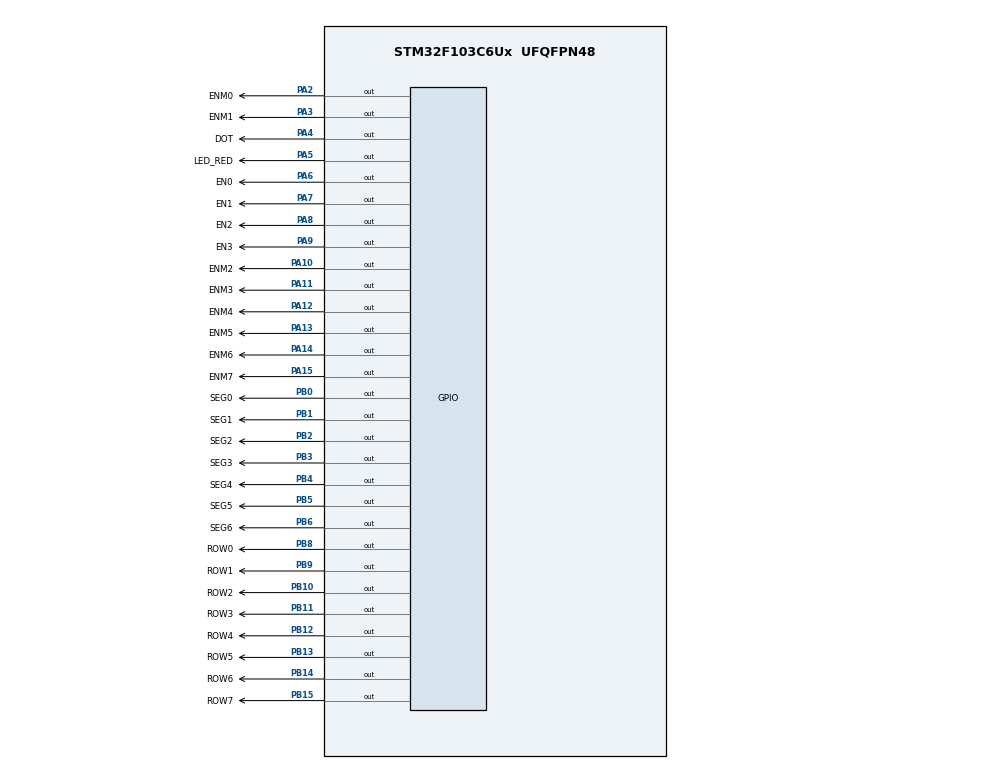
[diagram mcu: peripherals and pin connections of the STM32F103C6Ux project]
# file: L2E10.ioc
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Mcu.Family=STM32F1
Mcu.Name=STM32F103C6Ux
Mcu.Package=UFQFPN48
NVIC.PriorityGroup=NVIC_PRIORITYGROUP_4
NVIC.TIM2_IRQn=true\:0\:0\:false\:false\:true\:true\:true
PA10.GPIO_Label=ENM2
PA10.Signal=GPIO_Output
PA11.GPIO_Label=ENM3
PA11.Signal=GPIO_Output
PA12.GPIO_Label=ENM4
PA12.Signal=GPIO_Output
PA13.GPIO_Label=ENM5
PA13.Signal=GPIO_Output
PA14.GPIO_Label=ENM6
PA14.Signal=GPIO_Output
PA15.GPIO_Label=ENM7
PA15.Signal=GPIO_Output
PA2.GPIO_Label=ENM0
PA2.Signal=GPIO_Output
PA3.GPIO_Label=ENM1
PA3.Signal=GPIO_Output
PA4.GPIO_Label=DOT
PA4.Signal=GPIO_Output
PA5.GPIO_Label=LED_RED
PA5.Signal=GPIO_Output
PA6.GPIO_Label=EN0
PA6.Signal=GPIO_Output
PA7.GPIO_Label=EN1
PA7.Signal=GPIO_Output
PA8.GPIO_Label=EN2
PA8.Signal=GPIO_Output
PA9.GPIO_Label=EN3
PA9.Signal=GPIO_Output
PB0.GPIO_Label=SEG0
PB0.Signal=GPIO_Output
PB1.GPIO_Label=SEG1
PB1.Signal=GPIO_Output
PB10.GPIO_Label=ROW2
PB10.Signal=GPIO_Output
PB11.GPIO_Label=ROW3
PB11.Signal=GPIO_Output
PB12.GPIO_Label=ROW4
PB12.Signal=GPIO_Output
PB13.GPIO_Label=ROW5
PB13.Signal=GPIO_Output
PB14.GPIO_Label=ROW6
PB14.Signal=GPIO_Output
PB15.GPIO_Label=ROW7
PB15.Signal=GPIO_Output
PB2.GPIO_Label=SEG2
PB2.Signal=GPIO_Output
PB3.GPIO_Label=SEG3
PB3.Signal=GPIO_Output
PB4.GPIO_Label=SEG4
PB4.Signal=GPIO_Output
PB5.GPIO_Label=SEG5
PB5.Signal=GPIO_Output
PB6.GPIO_Label=SEG6
PB6.Signal=GPIO_Output
PB8.GPIO_Label=ROW0
PB8.Signal=GPIO_Output
PB9.GPIO_Label=ROW1
PB9.Signal=GPIO_Output
ProjectManager.HeapSize=0x200
ProjectManager.StackSize=0x400
ProjectManager.TargetToolchain=STM32CubeIDE
RCC.APB1Freq_Value=8000000
RCC.APB2Freq_Value=8000000
TIM2.Period=9
TIM2.Prescaler=79
VP_SYS_VS_ND.Mode=No_Debug
VP_TIM2_VS_ClockSourceINT.Mode=Internal
board=custom

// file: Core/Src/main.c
/* USER CODE BEGIN Header */
/**
  ******************************************************************************
  * @file           : main.c
  * @brief          : Main program body
  ******************************************************************************
  * @attention
  *
  * <h2><center>&copy; Copyright (c) 2023 STMicroelectronics.
  * All rights reserved.</center></h2>
  *
  * This software component is licensed by ST under BSD 3-Clause license,
  * the "License"; You may not use this file except in compliance with the
  * License. You may obtain a copy of the License at:
  *                        opensource.org/licenses/BSD-3-Clause
  *
  ******************************************************************************
  */
/* USER CODE END Header */
#include "main.h"

/* USER CODE BEGIN Includes */
#include "software_timer.h"
/* USER CODE END Includes */

TIM_HandleTypeDef htim2;

void SystemClock_Config(void);
static void MX_GPIO_Init(void);
static void MX_TIM2_Init(void);
/* USER CODE BEGIN PFP */
void display7SEG(int);
void update7SEG(int);
void updateClockBuffer(void);
void updateLEDMatrix(int);
void updateMatrixBuffer(int);
/* USER CODE END PFP */

/* USER CODE BEGIN 0 */
int hour = 15, min = 8, sec =50;

const int MAX_LED = 4;
int index_led = 0;
int led_buffer [4] = {1, 2, 3, 4};

int count_frame = 0;
const int MAX_FRAME = 14;
int count_col =0;

const int MAX_LED_MATRIX = 8;
int index_led_matrix = 0;
uint8_t matrix_buffer [8] = {0b00000000, 0b11111100, 0b11111110, 0b00110011, 0b00110011, 0b11111110, 0b11111100, 0b00000000 };

int state = 0;

void displayLEDMatrix(uint8_t value){
  	if (value & (1U << 0))
  		HAL_GPIO_WritePin(GPIOB, ROW0_Pin, GPIO_PIN_RESET);
  	else
  		HAL_GPIO_WritePin(GPIOB, ROW0_Pin, GPIO_PIN_SET);

  	if (value & (1U << 1))
  		HAL_GPIO_WritePin(GPIOB, ROW1_Pin, GPIO_PIN_RESET);
  	else
  		HAL_GPIO_WritePin(GPIOB, ROW1_Pin, GPIO_PIN_SET);

  	if (value & (1U << 2))
  		HAL_GPIO_WritePin(GPIOB, ROW2_Pin, GPIO_PIN_RESET);
  	else
  		HAL_GPIO_WritePin(GPIOB, ROW2_Pin, GPIO_PIN_SET);

  	if (value & (1U << 3))
  		HAL_GPIO_WritePin(GPIOB, ROW3_Pin, GPIO_PIN_RESET);
  	else
  		HAL_GPIO_WritePin(GPIOB, ROW3_Pin, GPIO_PIN_SET);

  	if (value & (1U << 4))
  		HAL_GPIO_WritePin(GPIOB, ROW4_Pin, GPIO_PIN_RESET);
  	else
  		HAL_GPIO_WritePin(GPIOB, ROW4_Pin, GPIO_PIN_SET);

  	if (value & (1U << 5))
  		HAL_GPIO_WritePin(GPIOB, ROW5_Pin, GPIO_PIN_RESET);
  	else
  		HAL_GPIO_WritePin(GPIOB, ROW5_Pin, GPIO_PIN_SET);

  	if (value & (1U << 6))
  		HAL_GPIO_WritePin(GPIOB, ROW6_Pin, GPIO_PIN_RESET);
  	else
  		HAL_GPIO_WritePin(GPIOB, ROW6_Pin, GPIO_PIN_SET);

  	if (value & (1U << 7))
  		HAL_GPIO_WritePin(GPIOB, ROW7_Pin, GPIO_PIN_RESET);
  	else
  		HAL_GPIO_WritePin(GPIOB, ROW7_Pin, GPIO_PIN_SET);
}
/* USER CODE END 0 */

int main(void)
{

  /* MCU Configuration--------------------------------------------------------*/

  /* Reset of all peripherals, Initializes the Flash interface and the Systick. */
  HAL_Init();

  /* USER CODE BEGIN Init */
  //GPIO_InitTypeDef GPIO_InitStruct = {0};
  /* USER CODE END Init */

  /* Configure the system clock */
  SystemClock_Config();

  /* Initialize all configured peripherals */
  MX_GPIO_Init();
  MX_TIM2_Init();
  /* USER CODE BEGIN 2 */
  HAL_TIM_Base_Start_IT(&htim2);
  /* USER CODE END 2 */

  /* Infinite loop */
  /* USER CODE BEGIN WHILE */
  setTimer1(25);
  setTimer2(100);
  setTimer3(100);

  update7SEG(index_led);
  updateLEDMatrix(index_led_matrix);

  HAL_GPIO_WritePin(ENM0_GPIO_Port, ENM0_Pin, SET);
  HAL_GPIO_WritePin(ENM1_GPIO_Port, ENM1_Pin, RESET);
  HAL_GPIO_WritePin(ENM2_GPIO_Port, ENM2_Pin, RESET);
  HAL_GPIO_WritePin(ENM3_GPIO_Port, ENM3_Pin, RESET);
  HAL_GPIO_WritePin(ENM4_GPIO_Port, ENM4_Pin, RESET);
  HAL_GPIO_WritePin(ENM5_GPIO_Port, ENM5_Pin, RESET);
  HAL_GPIO_WritePin(ENM6_GPIO_Port, ENM6_Pin, RESET);
  HAL_GPIO_WritePin(ENM7_GPIO_Port, ENM7_Pin, RESET);

  HAL_GPIO_WritePin(SEG0_GPIO_Port, SEG0_Pin, RESET);
  HAL_GPIO_WritePin(SEG1_GPIO_Port, SEG1_Pin, RESET);
  HAL_GPIO_WritePin(SEG2_GPIO_Port, SEG2_Pin, RESET);
  HAL_GPIO_WritePin(SEG3_GPIO_Port, SEG3_Pin, RESET);
  HAL_GPIO_WritePin(SEG4_GPIO_Port, SEG4_Pin, RESET);
  HAL_GPIO_WritePin(SEG5_GPIO_Port, SEG5_Pin, RESET);
  HAL_GPIO_WritePin(SEG6_GPIO_Port, SEG6_Pin, SET);

  int ledOn = 0;
  while (1)
  {
    /* USER CODE END WHILE */
    /* USER CODE BEGIN 3 */
	  if(timer3_flag){
		  index_led_matrix++;
		  count_col++;
		  if(index_led_matrix >= MAX_LED_MATRIX){
			  index_led_matrix = 0;
			  state++;
		  }
		  if (state >= 8) state = 0;
		  //updateMatrixBuffer(state);

		  if(count_col >= MAX_LED_MATRIX){
			  count_col = 0;
			  count_frame++;
		  }

		  if(count_frame >= MAX_FRAME)
			  count_frame =0;
		  if (state >= 8) state = 0;
		  updateLEDMatrix(index_led_matrix);
		  setTimer3(5);
	  }

	  if (timer1_flag == 1){
	  	  		  switch (ledOn){
	  	  		  case 0:
	  	  			  HAL_GPIO_WritePin(GPIOA , EN0_Pin , GPIO_PIN_RESET);
	  	  			  HAL_GPIO_WritePin(GPIOA , EN1_Pin | EN2_Pin | EN3_Pin , GPIO_PIN_SET);
	  	  			  update7SEG(0);
	  	  			  ledOn = 1;
	  	  			  break;

	  	  		  case 1:
	  	  			  HAL_GPIO_WritePin(GPIOA , EN1_Pin , GPIO_PIN_RESET);
	  	  			  HAL_GPIO_WritePin(GPIOA , EN0_Pin | EN2_Pin | EN3_Pin , GPIO_PIN_SET);
	  	  			  update7SEG(1);
	  	  			  ledOn = 2;
	  	  			  break;

	  	  		  case 2:
	  	  			  HAL_GPIO_WritePin(GPIOA , EN2_Pin , GPIO_PIN_RESET);
	  	  			  HAL_GPIO_WritePin(GPIOA , EN0_Pin | EN1_Pin | EN3_Pin , GPIO_PIN_SET);
	  	  			  update7SEG(2);
	  	  			  ledOn = 3;
	  	  			  break;

	  	  		  case 3:
	  	  			  HAL_GPIO_WritePin(GPIOA , EN3_Pin , GPIO_PIN_RESET);
	  	  			  HAL_GPIO_WritePin(GPIOA , EN0_Pin | EN1_Pin | EN2_Pin , GPIO_PIN_SET);
	  	  			  update7SEG(3);
	  	  			  ledOn = 0;
	  	  			  break;

	  	  		  default:
	  	  			  update7SEG(-1);
	  	  			  ledOn = 0;
	  	  			  break;
	  	  		  }
	  	  	  setTimer1(25);
	  	  }

	  	  	  if (timer2_flag == 1){
	  	  		  HAL_GPIO_TogglePin(GPIOA, DOT_Pin);
	  	  		  sec++;
	  	  		if ( sec >= 60) {
	  	  			sec = 0;
	  	  			min++;
	  	  		}
	  	  		if (min >= 60) {
	  	  			min = 0;
	  	  			hour++;
	  	  		}
	  	  		if (hour >= 24) hour = 0;
	  	  		  	updateClockBuffer() ;
	  	  		    setTimer2(100);
	  	  	  }
  }
  /* USER CODE END 3 */
}

void SystemClock_Config(void)
{
  RCC_OscInitTypeDef RCC_OscInitStruct = {0};
  RCC_ClkInitTypeDef RCC_ClkInitStruct = {0};

  /** Initializes the RCC Oscillators according to the specified parameters
  * in the RCC_OscInitTypeDef structure.
  */
  RCC_OscInitStruct.OscillatorType = RCC_OSCILLATORTYPE_HSI;
  RCC_OscInitStruct.HSIState = RCC_HSI_ON;
  RCC_OscInitStruct.HSICalibrationValue = RCC_HSICALIBRATION_DEFAULT;
  RCC_OscInitStruct.PLL.PLLState = RCC_PLL_NONE;
  if (HAL_RCC_OscConfig(&RCC_OscInitStruct) != HAL_OK)
  {
    Error_Handler();
  }
  /** Initializes the CPU, AHB and APB buses clocks
  */
  RCC_ClkInitStruct.ClockType = RCC_CLOCKTYPE_HCLK|RCC_CLOCKTYPE_SYSCLK
                              |RCC_CLOCKTYPE_PCLK1|RCC_CLOCKTYPE_PCLK2;
  RCC_ClkInitStruct.SYSCLKSource = RCC_SYSCLKSOURCE_HSI;
  RCC_ClkInitStruct.AHBCLKDivider = RCC_SYSCLK_DIV1;
  RCC_ClkInitStruct.APB1CLKDivider = RCC_HCLK_DIV1;
  RCC_ClkInitStruct.APB2CLKDivider = RCC_HCLK_DIV1;

  if (HAL_RCC_ClockConfig(&RCC_ClkInitStruct, FLASH_LATENCY_0) != HAL_OK)
  {
    Error_Handler();
  }
}

static void MX_TIM2_Init(void)
{

  TIM_ClockConfigTypeDef sClockSourceConfig = {0};
  TIM_MasterConfigTypeDef sMasterConfig = {0};

  htim2.Instance = TIM2;
  htim2.Init.Prescaler = 7999;
  htim2.Init.CounterMode = TIM_COUNTERMODE_UP;
  htim2.Init.Period = 9;
  htim2.Init.ClockDivision = TIM_CLOCKDIVISION_DIV1;
  htim2.Init.AutoReloadPreload = TIM_AUTORELOAD_PRELOAD_DISABLE;
  if (HAL_TIM_Base_Init(&htim2) != HAL_OK)
  {
    Error_Handler();
  }
  sClockSourceConfig.ClockSource = TIM_CLOCKSOURCE_INTERNAL;
  if (HAL_TIM_ConfigClockSource(&htim2, &sClockSourceConfig) != HAL_OK)
  {
    Error_Handler();
  }
  sMasterConfig.MasterOutputTrigger = TIM_TRGO_RESET;
  sMasterConfig.MasterSlaveMode = TIM_MASTERSLAVEMODE_DISABLE;
  if (HAL_TIMEx_MasterConfigSynchronization(&htim2, &sMasterConfig) != HAL_OK)
  {
    Error_Handler();
  }

}

static void MX_GPIO_Init(void)
{
  GPIO_InitTypeDef GPIO_InitStruct = {0};

  /* GPIO Ports Clock Enable */
  __HAL_RCC_GPIOA_CLK_ENABLE();
  __HAL_RCC_GPIOB_CLK_ENABLE();

  /*Configure GPIO pin Output Level */
  HAL_GPIO_WritePin(GPIOA, ENM0_Pin|ENM1_Pin|DOT_Pin|LED_RED_Pin
                          |EN0_Pin|EN1_Pin|EN2_Pin|EN3_Pin
                          |ENM2_Pin|ENM3_Pin|ENM4_Pin|ENM5_Pin
                          |ENM6_Pin|ENM7_Pin, GPIO_PIN_RESET);

  /*Configure GPIO pin Output Level */
  HAL_GPIO_WritePin(GPIOB, SEG0_Pin|SEG1_Pin|SEG2_Pin|ROW2_Pin
                          |ROW3_Pin|ROW4_Pin|ROW5_Pin|ROW6_Pin
                          |ROW7_Pin|SEG3_Pin|SEG4_Pin|SEG5_Pin
                          |SEG6_Pin|ROW0_Pin|ROW1_Pin, GPIO_PIN_RESET);

  /*Configure GPIO pins : ENM0_Pin ENM1_Pin DOT_Pin LED_RED_Pin
                           EN0_Pin EN1_Pin EN2_Pin EN3_Pin
                           ENM2_Pin ENM3_Pin ENM4_Pin ENM5_Pin
                           ENM6_Pin ENM7_Pin */
  GPIO_InitStruct.Pin = ENM0_Pin|ENM1_Pin|DOT_Pin|LED_RED_Pin
                          |EN0_Pin|EN1_Pin|EN2_Pin|EN3_Pin
                          |ENM2_Pin|ENM3_Pin|ENM4_Pin|ENM5_Pin
                          |ENM6_Pin|ENM7_Pin;
  GPIO_InitStruct.Mode = GPIO_MODE_OUTPUT_PP;
  GPIO_InitStruct.Pull = GPIO_NOPULL;
  GPIO_InitStruct.Speed = GPIO_SPEED_FREQ_LOW;
  HAL_GPIO_Init(GPIOA, &GPIO_InitStruct);

  /*Configure GPIO pins : SEG0_Pin SEG1_Pin SEG2_Pin ROW2_Pin
                           ROW3_Pin ROW4_Pin ROW5_Pin ROW6_Pin
                           ROW7_Pin SEG3_Pin SEG4_Pin SEG5_Pin
                           SEG6_Pin ROW0_Pin ROW1_Pin */
  GPIO_InitStruct.Pin = SEG0_Pin|SEG1_Pin|SEG2_Pin|ROW2_Pin
                          |ROW3_Pin|ROW4_Pin|ROW5_Pin|ROW6_Pin
                          |ROW7_Pin|SEG3_Pin|SEG4_Pin|SEG5_Pin
                          |SEG6_Pin|ROW0_Pin|ROW1_Pin;
  GPIO_InitStruct.Mode = GPIO_MODE_OUTPUT_PP;
  GPIO_InitStruct.Pull = GPIO_NOPULL;
  GPIO_InitStruct.Speed = GPIO_SPEED_FREQ_LOW;
  HAL_GPIO_Init(GPIOB, &GPIO_InitStruct);

}

/* USER CODE BEGIN 4 */
void display7SEG(int counter){
	switch (counter){
		case 0:
			HAL_GPIO_WritePin(GPIOB , SEG0_Pin | SEG1_Pin | SEG2_Pin | SEG3_Pin |
							  SEG4_Pin | SEG5_Pin , GPIO_PIN_RESET);
			HAL_GPIO_WritePin(GPIOB , SEG6_Pin , GPIO_PIN_SET);
			break;

		case 1:
			HAL_GPIO_WritePin(GPIOB , SEG1_Pin | SEG2_Pin , GPIO_PIN_RESET);
			HAL_GPIO_WritePin(GPIOB , SEG0_Pin | SEG3_Pin | SEG4_Pin | SEG5_Pin | SEG6_Pin , GPIO_PIN_SET);
			break;

		case 2:
			HAL_GPIO_WritePin(GPIOB , SEG0_Pin | SEG1_Pin | SEG3_Pin | SEG4_Pin | SEG6_Pin , GPIO_PIN_RESET);
			HAL_GPIO_WritePin(GPIOB , SEG2_Pin | SEG5_Pin , GPIO_PIN_SET);
			break;

		case 3:
			HAL_GPIO_WritePin(GPIOB , SEG0_Pin | SEG1_Pin | SEG2_Pin | SEG3_Pin | SEG6_Pin , GPIO_PIN_RESET);
			HAL_GPIO_WritePin(GPIOB , SEG4_Pin | SEG5_Pin , GPIO_PIN_SET);
			break;

		case 4:
			HAL_GPIO_WritePin(GPIOB , SEG1_Pin | SEG2_Pin | SEG5_Pin | SEG6_Pin , GPIO_PIN_RESET);
			HAL_GPIO_WritePin(GPIOB , SEG0_Pin | SEG3_Pin | SEG4_Pin , GPIO_PIN_SET);
			break;

		case 5:
			HAL_GPIO_WritePin(GPIOB , SEG0_Pin | SEG2_Pin | SEG3_Pin | SEG5_Pin | SEG6_Pin , GPIO_PIN_RESET);
			HAL_GPIO_WritePin(GPIOB , SEG1_Pin | SEG4_Pin , GPIO_PIN_SET);
			break;

		case 6:
			HAL_GPIO_WritePin(GPIOB , SEG0_Pin | SEG2_Pin | SEG3_Pin | SEG4_Pin |
							  SEG5_Pin | SEG6_Pin , GPIO_PIN_RESET);
			HAL_GPIO_WritePin(GPIOB , SEG1_Pin , GPIO_PIN_SET);
			break;

		case 7:
			HAL_GPIO_WritePin(GPIOB , SEG0_Pin | SEG1_Pin | SEG2_Pin , GPIO_PIN_RESET);
			HAL_GPIO_WritePin(GPIOB , SEG3_Pin | SEG4_Pin | SEG5_Pin | SEG6_Pin , GPIO_PIN_SET);
			break;

		case 8:
			HAL_GPIO_WritePin(GPIOB , SEG0_Pin | SEG1_Pin | SEG2_Pin | SEG3_Pin |
							  SEG4_Pin | SEG5_Pin | SEG6_Pin , GPIO_PIN_RESET);
			break;

		case 9:
			HAL_GPIO_WritePin(GPIOB , SEG0_Pin | SEG1_Pin | SEG2_Pin | SEG3_Pin |
							  SEG5_Pin | SEG6_Pin , GPIO_PIN_RESET);
			HAL_GPIO_WritePin(GPIOB , SEG4_Pin , GPIO_PIN_SET);
			break;

		default:
			break;
	}
}

void update7SEG(int index){
	switch ( index ){
	case 0:
		display7SEG(led_buffer[0]);
		break ;

	case 1:
		display7SEG(led_buffer[1]);
		break ;

	case 2:
		display7SEG(led_buffer[2]);
		break ;

	case 3:
		display7SEG(led_buffer[3]);
		break ;

	default :
		break ;
	}
}

void updateClockBuffer(){
	led_buffer[0] = hour / 10;
	led_buffer[1] = hour % 10;
	led_buffer[2] = min / 10;
	led_buffer[3] = min % 10;
}

void updateLEDMatrix(int index)
{

	int sum = index + state;
	if (sum >= MAX_LED_MATRIX) sum -= MAX_LED_MATRIX;
  	switch (index)
  	{
  		case 0:
  			HAL_GPIO_WritePin(GPIOA, ENM1_Pin | ENM2_Pin | ENM3_Pin |
  								ENM4_Pin | ENM5_Pin | ENM6_Pin | ENM7_Pin, GPIO_PIN_SET);
  			HAL_GPIO_WritePin(GPIOA, ENM0_Pin, GPIO_PIN_RESET);

  			displayLEDMatrix(matrix_buffer[sum]);
  			break;
  		case 1:
  			HAL_GPIO_WritePin(GPIOA, ENM0_Pin | ENM2_Pin | ENM3_Pin |
  								ENM4_Pin | ENM5_Pin | ENM6_Pin | ENM7_Pin, GPIO_PIN_SET);
  			HAL_GPIO_WritePin(GPIOA, ENM1_Pin, GPIO_PIN_RESET);
  			displayLEDMatrix(matrix_buffer[sum]);
  			break;
  		case 2:
  			HAL_GPIO_WritePin(GPIOA, ENM1_Pin | ENM0_Pin | ENM3_Pin |
  								ENM4_Pin | ENM5_Pin | ENM6_Pin | ENM7_Pin, GPIO_PIN_SET);
  			HAL_GPIO_WritePin(GPIOA, ENM2_Pin, GPIO_PIN_RESET);
  			displayLEDMatrix(matrix_buffer[sum]);
  			break;
  		case 3:
  			HAL_GPIO_WritePin(GPIOA, ENM1_Pin | ENM2_Pin | ENM0_Pin |
  								ENM4_Pin | ENM5_Pin | ENM6_Pin | ENM7_Pin, GPIO_PIN_SET);
  			HAL_GPIO_WritePin(GPIOA, ENM3_Pin, GPIO_PIN_RESET);
  			displayLEDMatrix(matrix_buffer[sum]);
  			break;
  		case 4:
  			HAL_GPIO_WritePin(GPIOA, ENM1_Pin | ENM2_Pin | ENM3_Pin |
  								ENM0_Pin | ENM5_Pin | ENM6_Pin | ENM7_Pin, GPIO_PIN_SET);
  			HAL_GPIO_WritePin(GPIOA, ENM4_Pin, GPIO_PIN_RESET);
  			displayLEDMatrix(matrix_buffer[sum]);
  			break;
  		case 5:
  			HAL_GPIO_WritePin(GPIOA, ENM1_Pin | ENM2_Pin | ENM3_Pin |
  								ENM4_Pin | ENM0_Pin | ENM6_Pin | ENM7_Pin, GPIO_PIN_SET);
  			HAL_GPIO_WritePin(GPIOA, ENM5_Pin, GPIO_PIN_RESET);
  			displayLEDMatrix(matrix_buffer[sum]);
  			break;
  		case 6:
  			HAL_GPIO_WritePin(GPIOA, ENM1_Pin | ENM2_Pin | ENM3_Pin |
  			  					ENM4_Pin | ENM5_Pin | ENM0_Pin | ENM7_Pin, GPIO_PIN_SET);
  			HAL_GPIO_WritePin(GPIOA, ENM6_Pin, GPIO_PIN_RESET);
  			displayLEDMatrix(matrix_buffer[sum]);
  			break;
  		case 7:
  			HAL_GPIO_WritePin(GPIOA, ENM1_Pin | ENM2_Pin | ENM3_Pin |
  								ENM4_Pin | ENM5_Pin | ENM6_Pin | ENM0_Pin, GPIO_PIN_SET);
  			HAL_GPIO_WritePin(GPIOA, ENM7_Pin, GPIO_PIN_RESET);
  			displayLEDMatrix(matrix_buffer[sum]);
  			break;
  		default:
  			break;
  	}
  }
/*
void updateMatrixBuffer(int state){
	switch (state){
		case 0:
			break;

		case 1:
			matrix_buffer[0] = matrix_buffer[1];
			matrix_buffer[1] = matrix_buffer[2];
			matrix_buffer[2] = matrix_buffer[3];
			matrix_buffer[3] = matrix_buffer[4];
			matrix_buffer[4] = matrix_buffer[5];
			matrix_buffer[5] = matrix_buffer[6];
			matrix_buffer[6] = matrix_buffer[7];
			matrix_buffer[7] = 0b00000000;
			break;

		case 2:
			matrix_buffer[0] = matrix_buffer[1];
			matrix_buffer[1] = matrix_buffer[2];
			matrix_buffer[2] = matrix_buffer[3];
			matrix_buffer[3] = matrix_buffer[4];
			matrix_buffer[4] = matrix_buffer[5];
			matrix_buffer[5] = matrix_buffer[6];
			matrix_buffer[6] = matrix_buffer[7];
			matrix_buffer[7] = 0b11111100;
		break;

		case 3:
			matrix_buffer[0] = matrix_buffer[1];
			matrix_buffer[1] = matrix_buffer[2];
			matrix_buffer[2] = matrix_buffer[3];
			matrix_buffer[3] = matrix_buffer[4];
			matrix_buffer[4] = matrix_buffer[5];
			matrix_buffer[5] = matrix_buffer[6];
			matrix_buffer[6] = matrix_buffer[7];
			matrix_buffer[7] = 0b11111110;
			break;

		case 4:
			matrix_buffer[0] = matrix_buffer[1];
			matrix_buffer[1] = matrix_buffer[2];
			matrix_buffer[2] = matrix_buffer[3];
			matrix_buffer[3] = matrix_buffer[4];
			matrix_buffer[4] = matrix_buffer[5];
			matrix_buffer[5] = matrix_buffer[6];
			matrix_buffer[6] = matrix_buffer[7];
			matrix_buffer[7] = 0b00110011;
			break;

		case 5:
			matrix_buffer[0] = matrix_buffer[1];
			matrix_buffer[1] = matrix_buffer[2];
			matrix_buffer[2] = matrix_buffer[3];
			matrix_buffer[3] = matrix_buffer[4];
			matrix_buffer[4] = matrix_buffer[5];
			matrix_buffer[5] = matrix_buffer[6];
			matrix_buffer[6] = matrix_buffer[7];
			matrix_buffer[7] = 0b00110011;
			break;

		case 6:
			matrix_buffer[0] = matrix_buffer[1];
			matrix_buffer[1] = matrix_buffer[2];
			matrix_buffer[2] = matrix_buffer[3];
			matrix_buffer[3] = matrix_buffer[4];
			matrix_buffer[4] = matrix_buffer[5];
			matrix_buffer[5] = matrix_buffer[6];
			matrix_buffer[6] = matrix_buffer[7];
			matrix_buffer[7] = 0b11111110;
			break;

		case 7:
			matrix_buffer[0] = matrix_buffer[1];
			matrix_buffer[1] = matrix_buffer[2];
			matrix_buffer[2] = matrix_buffer[3];
			matrix_buffer[3] = matrix_buffer[4];
			matrix_buffer[4] = matrix_buffer[5];
			matrix_buffer[5] = matrix_buffer[6];
			matrix_buffer[6] = matrix_buffer[7];
			matrix_buffer[7] = 0b11111100;
			break;

		default:
			break;
	}
}*/

void HAL_TIM_PeriodElapsedCallback(TIM_HandleTypeDef *htim)
  {
	  timerRun();
  }
/* USER CODE END 4 */

void Error_Handler(void)
{
  __disable_irq();
  while (1)
  {
  }
}

/************************ (C) COPYRIGHT STMicroelectronics *****END OF FILE****/
